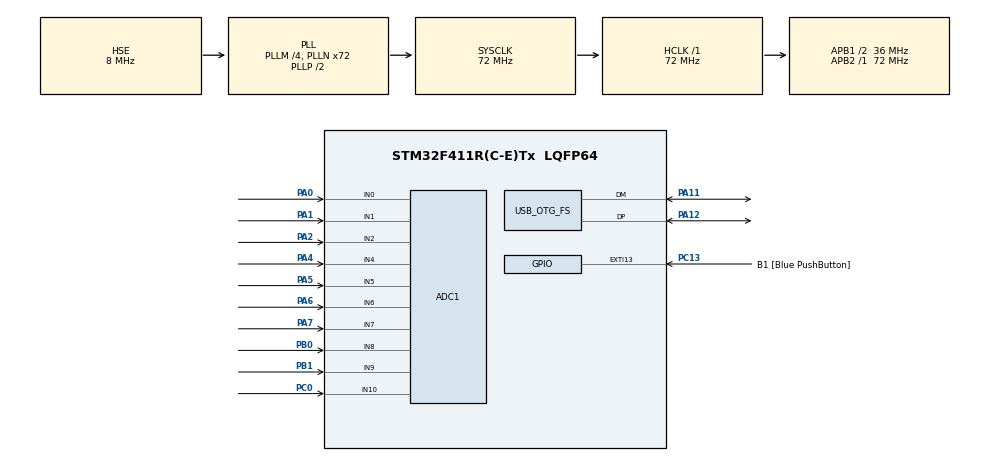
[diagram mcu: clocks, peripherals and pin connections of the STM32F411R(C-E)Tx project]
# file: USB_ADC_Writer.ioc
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ADC1.Channel-0\#ChannelRegularConversion=ADC_CHANNEL_VREFINT
ADC1.Channel-1\#ChannelRegularConversion=ADC_CHANNEL_0
ADC1.Channel-10\#ChannelRegularConversion=ADC_CHANNEL_10
ADC1.Channel-2\#ChannelRegularConversion=ADC_CHANNEL_1
ADC1.Channel-3\#ChannelRegularConversion=ADC_CHANNEL_2
ADC1.Channel-4\#ChannelRegularConversion=ADC_CHANNEL_4
ADC1.Channel-5\#ChannelRegularConversion=ADC_CHANNEL_5
ADC1.Channel-6\#ChannelRegularConversion=ADC_CHANNEL_6
ADC1.Channel-7\#ChannelRegularConversion=ADC_CHANNEL_7
ADC1.Channel-8\#ChannelRegularConversion=ADC_CHANNEL_8
ADC1.Channel-9\#ChannelRegularConversion=ADC_CHANNEL_9
ADC1.DMAContinuousRequests=ENABLE
ADC1.ExternalTrigConv=ADC_EXTERNALTRIGCONV_T2_TRGO
ADC1.NbrOfConversion=11
ADC1.NbrOfConversionFlag=1
ADC1.Rank-0\#ChannelRegularConversion=1
ADC1.Rank-1\#ChannelRegularConversion=2
ADC1.Rank-10\#ChannelRegularConversion=11
ADC1.Rank-2\#ChannelRegularConversion=3
ADC1.Rank-3\#ChannelRegularConversion=4
ADC1.Rank-4\#ChannelRegularConversion=5
ADC1.Rank-5\#ChannelRegularConversion=6
ADC1.Rank-6\#ChannelRegularConversion=7
ADC1.Rank-7\#ChannelRegularConversion=8
ADC1.Rank-8\#ChannelRegularConversion=9
ADC1.Rank-9\#ChannelRegularConversion=10
ADC1.SamplingTime-0\#ChannelRegularConversion=ADC_SAMPLETIME_15CYCLES
ADC1.SamplingTime-1\#ChannelRegularConversion=ADC_SAMPLETIME_15CYCLES
ADC1.SamplingTime-10\#ChannelRegularConversion=ADC_SAMPLETIME_15CYCLES
ADC1.SamplingTime-2\#ChannelRegularConversion=ADC_SAMPLETIME_15CYCLES
ADC1.SamplingTime-3\#ChannelRegularConversion=ADC_SAMPLETIME_15CYCLES
ADC1.SamplingTime-4\#ChannelRegularConversion=ADC_SAMPLETIME_15CYCLES
ADC1.SamplingTime-5\#ChannelRegularConversion=ADC_SAMPLETIME_15CYCLES
ADC1.SamplingTime-6\#ChannelRegularConversion=ADC_SAMPLETIME_15CYCLES
ADC1.SamplingTime-7\#ChannelRegularConversion=ADC_SAMPLETIME_15CYCLES
ADC1.SamplingTime-8\#ChannelRegularConversion=ADC_SAMPLETIME_15CYCLES
ADC1.SamplingTime-9\#ChannelRegularConversion=ADC_SAMPLETIME_15CYCLES
ADC1.ScanConvMode=ENABLE
ADC1.master=1
Dma.ADC1.0.Direction=DMA_PERIPH_TO_MEMORY
Dma.ADC1.0.FIFOMode=DMA_FIFOMODE_DISABLE
Dma.ADC1.0.Instance=DMA2_Stream0
Dma.ADC1.0.MemDataAlignment=DMA_MDATAALIGN_HALFWORD
Dma.ADC1.0.MemInc=DMA_MINC_ENABLE
Dma.ADC1.0.Mode=DMA_CIRCULAR
Dma.ADC1.0.PeriphDataAlignment=DMA_PDATAALIGN_HALFWORD
Dma.ADC1.0.PeriphInc=DMA_PINC_DISABLE
Dma.ADC1.0.Priority=DMA_PRIORITY_HIGH
Dma.Request0=ADC1
FATFS._MAX_SS=4096
Mcu.Family=STM32F4
Mcu.Name=STM32F411R(C-E)Tx
Mcu.Package=LQFP64
NVIC.DMA2_Stream0_IRQn=true\:0\:0\:false\:false\:true\:false
NVIC.OTG_FS_IRQn=true\:0\:0\:false\:false\:true\:false
NVIC.PriorityGroup=NVIC_PRIORITYGROUP_0
PA0-WKUP.Signal=ADCx_IN0
PA1.Signal=ADCx_IN1
PA11.Mode=Host_Only
PA11.Signal=USB_OTG_FS_DM
PA12.Mode=Host_Only
PA12.Signal=USB_OTG_FS_DP
PA13.GPIO_Label=TMS
PA13.Mode=Serial_Wire
PA13.Signal=SYS_JTMS-SWDIO
PA14.GPIO_Label=TCK
PA14.Mode=Serial_Wire
PA14.Signal=SYS_JTCK-SWCLK
PA2.Signal=ADCx_IN2
PA4.Signal=ADCx_IN4
PA5.Signal=ADCx_IN5
PA6.Signal=ADCx_IN6
PA7.Signal=ADCx_IN7
PB0.Signal=ADCx_IN8
PB1.Signal=ADCx_IN9
PC0.Signal=ADCx_IN10
PC13-ANTI_TAMP.GPIO_Label=B1 [Blue PushButton]
PC13-ANTI_TAMP.GPIO_ModeDefaultEXTI=GPIO_MODE_IT_FALLING
PC13-ANTI_TAMP.Signal=GPXTI13
PH0\ -\ OSC_IN.Mode=HSE-External-Oscillator
PH0\ -\ OSC_IN.Signal=RCC_OSC_IN
PH1\ -\ OSC_OUT.Mode=HSE-External-Oscillator
PH1\ -\ OSC_OUT.Signal=RCC_OSC_OUT
ProjectManager.HeapSize=0x200
ProjectManager.StackSize=0x400
ProjectManager.TargetToolchain=MDK-ARM V5
RCC.48MHZClocksFreq_Value=48000000
RCC.AHBFreq_Value=72000000
RCC.APB1CLKDivider=RCC_HCLK_DIV2
RCC.APB1Freq_Value=36000000
RCC.APB1TimFreq_Value=72000000
RCC.APB2Freq_Value=72000000
RCC.APB2TimFreq_Value=72000000
RCC.CortexFreq_Value=72000000
RCC.FLatency-AdvancedSettings=FLASH_LATENCY_2
RCC.HCLKFreq_Value=72000000
RCC.HSE_VALUE=8000000
RCC.HSI_VALUE=16000000
RCC.LSE_VALUE=32768
RCC.PLLM=4
RCC.PLLN=72
RCC.PLLQ=3
RCC.SYSCLKFreq_VALUE=72000000
RCC.SYSCLKSource=RCC_SYSCLKSOURCE_PLLCLK
RCC.VCOOutputFreq_Value=144000000
SH.ADCx_IN0.0=ADC1_IN0,IN0
SH.ADCx_IN1.0=ADC1_IN1,IN1
SH.ADCx_IN10.0=ADC1_IN10,IN10
SH.ADCx_IN2.0=ADC1_IN2,IN2
SH.ADCx_IN4.0=ADC1_IN4,IN4
SH.ADCx_IN5.0=ADC1_IN5,IN5
SH.ADCx_IN6.0=ADC1_IN6,IN6
SH.ADCx_IN7.0=ADC1_IN7,IN7
SH.ADCx_IN8.0=ADC1_IN8,IN8
SH.ADCx_IN9.0=ADC1_IN9,IN9
TIM10.Period=4199
TIM10.Prescaler=19999
TIM2.Period=8400
TIM2.TIM_MasterOutputTrigger=TIM_TRGO_UPDATE
USB_HOST.USBH_HandleTypeDef=hUsbHostFS
USB_HOST.VirtualModeFS=Msc
USB_OTG_FS.VirtualMode=Host_Only
USB_OTG_FS.phy_itface=HCD_PHY_EMBEDDED
VP_ADC1_Vref_Input.Mode=IN-Vrefint
VP_FATFS_VS_USB.Mode=USB
VP_TIM10_VS_ClockSourceINT.Mode=Enable_Timer
VP_TIM2_VS_ClockSourceINT.Mode=Internal
VP_USB_HOST_VS_USB_HOST_MSC_FS.Mode=MSC_FS
board=NUCLEO-F411RE

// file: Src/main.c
/**
  ******************************************************************************
  * @file           : main.c
  * @brief          : Main program body
  ******************************************************************************
  * This notice applies to any and all portions of this file
  * that are not between comment pairs USER CODE BEGIN and
  * USER CODE END. Other portions of this file, whether
  * inserted by the user or by software development tools
  * are owned by their respective copyright owners.
  *
  * Copyright (c) 2018 STMicroelectronics International N.V.
  * All rights reserved.
  *
  * Redistribution and use in source and binary forms, with or without
  * modification, are permitted, provided that the following conditions are met:
  *
  * 1. Redistribution of source code must retain the above copyright notice,
  *    this list of conditions and the following disclaimer.
  * 2. Redistributions in binary form must reproduce the above copyright notice,
  *    this list of conditions and the following disclaimer in the documentation
  *    and/or other materials provided with the distribution.
  * 3. Neither the name of STMicroelectronics nor the names of other
  *    contributors to this software may be used to endorse or promote products
  *    derived from this software without specific written permission.
  * 4. This software, including modifications and/or derivative works of this
  *    software, must execute solely and exclusively on microcontroller or
  *    microprocessor devices manufactured by or for STMicroelectronics.
  * 5. Redistribution and use of this software other than as permitted under
  *    this license is void and will automatically terminate your rights under
  *    this license.
  *
  * THIS SOFTWARE IS PROVIDED BY STMICROELECTRONICS AND CONTRIBUTORS "AS IS"
  * AND ANY EXPRESS, IMPLIED OR STATUTORY WARRANTIES, INCLUDING, BUT NOT
  * LIMITED TO, THE IMPLIED WARRANTIES OF MERCHANTABILITY, FITNESS FOR A
  * PARTICULAR PURPOSE AND NON-INFRINGEMENT OF THIRD PARTY INTELLECTUAL PROPERTY
  * RIGHTS ARE DISCLAIMED TO THE FULLEST EXTENT PERMITTED BY LAW. IN NO EVENT
  * SHALL STMICROELECTRONICS OR CONTRIBUTORS BE LIABLE FOR ANY DIRECT, INDIRECT,
  * INCIDENTAL, SPECIAL, EXEMPLARY, OR CONSEQUENTIAL DAMAGES (INCLUDING, BUT NOT
  * LIMITED TO, PROCUREMENT OF SUBSTITUTE GOODS OR SERVICES; LOSS OF USE, DATA,
  * OR PROFITS; OR BUSINESS INTERRUPTION) HOWEVER CAUSED AND ON ANY THEORY OF
  * LIABILITY, WHETHER IN CONTRACT, STRICT LIABILITY, OR TORT (INCLUDING
  * NEGLIGENCE OR OTHERWISE) ARISING IN ANY WAY OUT OF THE USE OF THIS SOFTWARE,
  * EVEN IF ADVISED OF THE POSSIBILITY OF SUCH DAMAGE.
  *
  ******************************************************************************
  */
#include "main.h"
#include "stm32f4xx_hal.h"
#include "fatfs.h"
#include "usb_host.h"

ADC_HandleTypeDef hadc1;
DMA_HandleTypeDef hdma_adc1;

TIM_HandleTypeDef htim2;
TIM_HandleTypeDef htim10;

/* USER CODE BEGIN PV */
/* Private variables ---------------------------------------------------------*/
extern ApplicationTypeDef Appli_state;
static char _pathToFile[] = "ADC_Data.txt";
/* USER CODE END PV */

void SystemClock_Config(void);
static void MX_GPIO_Init(void);
static void MX_DMA_Init(void);
static void MX_ADC1_Init(void);
static void MX_TIM2_Init(void);
static void MX_TIM10_Init(void);
void MX_USB_HOST_Process(void);

/* USER CODE BEGIN PFP */
/* Private function prototypes -----------------------------------------------*/

/* USER CODE END PFP */

/* USER CODE BEGIN 0 */
uint16_t RESULT[11];
uint16_t RESULTV[11];
uint16_t VADC[10];

FRESULT result;
/* USER CODE END 0 */

int main(void)
{
  /* USER CODE BEGIN 1 */
	uint8_t i=0;
	uint32_t VCC;
	uint32_t UREFNM = 1210*4096;

  /* USER CODE END 1 */

  /* MCU Configuration----------------------------------------------------------*/

  /* Reset of all peripherals, Initializes the Flash interface and the Systick. */
  HAL_Init();

  /* Configure the system clock */
  SystemClock_Config();

  /* Initialize all configured peripherals */
  MX_GPIO_Init();
  MX_DMA_Init();
  MX_USB_HOST_Init();
  MX_FATFS_Init();
  MX_ADC1_Init();
  MX_TIM2_Init();
  MX_TIM10_Init();
  /* USER CODE BEGIN 2 */
	if(f_mount(&USBHFatFS, (const TCHAR*)USBHPath, 0) != FR_OK)
	{
		Error_Handler();
	}

	HAL_ADC_Start_DMA(&hadc1,(uint32_t *)&RESULT,11);
	HAL_TIM_Base_Start(&htim2);
	HAL_TIM_Base_Start_IT(&htim10);
  /* USER CODE END 2 */

  /* Infinite loop */
  while (1)
  {
    MX_USB_HOST_Process();

  /* USER CODE BEGIN 3 */
		if(0 !=	RESULTV[0])
		{
			VCC = UREFNM / RESULTV[0];
			for(i = 0; i < 10; i++)
			{
				VADC[i] = (uint16_t)(RESULTV[i+1]*VCC / 4096);
			}
			RESULTV[0] = 0;
			if(Appli_state == APPLICATION_START)
			{
				if(f_open(&USBHFile, _pathToFile, FA_WRITE | FA_OPEN_APPEND | FA_OPEN_ALWAYS) == FR_OK)
				{
					result = f_printf(&USBHFile, "%05d,%05d,%05d,%05d,%05d,%05d,%05d,%05d,%05d,%05d\r\n",
					VADC[0],VADC[1],VADC[2],VADC[3],VADC[4],VADC[5],VADC[6],VADC[7],VADC[8],VADC[9]);
					if(result == 0)
					{
						Error_Handler();
					}
					f_close(&USBHFile);
				}
				Appli_state = APPLICATION_IDLE;
			}
		}
  }
  /* USER CODE END 3 */

}

void SystemClock_Config(void)
{

  RCC_OscInitTypeDef RCC_OscInitStruct;
  RCC_ClkInitTypeDef RCC_ClkInitStruct;

    /**Configure the main internal regulator output voltage
    */
  __HAL_RCC_PWR_CLK_ENABLE();

  __HAL_PWR_VOLTAGESCALING_CONFIG(PWR_REGULATOR_VOLTAGE_SCALE1);

    /**Initializes the CPU, AHB and APB busses clocks
    */
  RCC_OscInitStruct.OscillatorType = RCC_OSCILLATORTYPE_HSE;
  RCC_OscInitStruct.HSEState = RCC_HSE_ON;
  RCC_OscInitStruct.PLL.PLLState = RCC_PLL_ON;
  RCC_OscInitStruct.PLL.PLLSource = RCC_PLLSOURCE_HSE;
  RCC_OscInitStruct.PLL.PLLM = 4;
  RCC_OscInitStruct.PLL.PLLN = 72;
  RCC_OscInitStruct.PLL.PLLP = RCC_PLLP_DIV2;
  RCC_OscInitStruct.PLL.PLLQ = 3;
  if (HAL_RCC_OscConfig(&RCC_OscInitStruct) != HAL_OK)
  {
    _Error_Handler(__FILE__, __LINE__);
  }

    /**Initializes the CPU, AHB and APB busses clocks
    */
  RCC_ClkInitStruct.ClockType = RCC_CLOCKTYPE_HCLK|RCC_CLOCKTYPE_SYSCLK
                              |RCC_CLOCKTYPE_PCLK1|RCC_CLOCKTYPE_PCLK2;
  RCC_ClkInitStruct.SYSCLKSource = RCC_SYSCLKSOURCE_PLLCLK;
  RCC_ClkInitStruct.AHBCLKDivider = RCC_SYSCLK_DIV1;
  RCC_ClkInitStruct.APB1CLKDivider = RCC_HCLK_DIV2;
  RCC_ClkInitStruct.APB2CLKDivider = RCC_HCLK_DIV1;

  if (HAL_RCC_ClockConfig(&RCC_ClkInitStruct, FLASH_LATENCY_2) != HAL_OK)
  {
    _Error_Handler(__FILE__, __LINE__);
  }

    /**Configure the Systick interrupt time
    */
  HAL_SYSTICK_Config(HAL_RCC_GetHCLKFreq()/1000);

    /**Configure the Systick
    */
  HAL_SYSTICK_CLKSourceConfig(SYSTICK_CLKSOURCE_HCLK);

  /* SysTick_IRQn interrupt configuration */
  HAL_NVIC_SetPriority(SysTick_IRQn, 0, 0);
}

/* ADC1 init function */
static void MX_ADC1_Init(void)
{

  ADC_ChannelConfTypeDef sConfig;

    /**Configure the global features of the ADC (Clock, Resolution, Data Alignment and number of conversion)
    */
  hadc1.Instance = ADC1;
  hadc1.Init.ClockPrescaler = ADC_CLOCK_SYNC_PCLK_DIV2;
  hadc1.Init.Resolution = ADC_RESOLUTION_12B;
  hadc1.Init.ScanConvMode = ENABLE;
  hadc1.Init.ContinuousConvMode = DISABLE;
  hadc1.Init.DiscontinuousConvMode = DISABLE;
  hadc1.Init.ExternalTrigConvEdge = ADC_EXTERNALTRIGCONVEDGE_RISING;
  hadc1.Init.ExternalTrigConv = ADC_EXTERNALTRIGCONV_T2_TRGO;
  hadc1.Init.DataAlign = ADC_DATAALIGN_RIGHT;
  hadc1.Init.NbrOfConversion = 11;
  hadc1.Init.DMAContinuousRequests = ENABLE;
  hadc1.Init.EOCSelection = ADC_EOC_SINGLE_CONV;
  if (HAL_ADC_Init(&hadc1) != HAL_OK)
  {
    _Error_Handler(__FILE__, __LINE__);
  }

    /**Configure for the selected ADC regular channel its corresponding rank in the sequencer and its sample time.
    */
  sConfig.Channel = ADC_CHANNEL_VREFINT;
  sConfig.Rank = 1;
  sConfig.SamplingTime = ADC_SAMPLETIME_15CYCLES;
  if (HAL_ADC_ConfigChannel(&hadc1, &sConfig) != HAL_OK)
  {
    _Error_Handler(__FILE__, __LINE__);
  }

    /**Configure for the selected ADC regular channel its corresponding rank in the sequencer and its sample time.
    */
  sConfig.Channel = ADC_CHANNEL_0;
  sConfig.Rank = 2;
  if (HAL_ADC_ConfigChannel(&hadc1, &sConfig) != HAL_OK)
  {
    _Error_Handler(__FILE__, __LINE__);
  }

    /**Configure for the selected ADC regular channel its corresponding rank in the sequencer and its sample time.
    */
  sConfig.Channel = ADC_CHANNEL_1;
  sConfig.Rank = 3;
  if (HAL_ADC_ConfigChannel(&hadc1, &sConfig) != HAL_OK)
  {
    _Error_Handler(__FILE__, __LINE__);
  }

    /**Configure for the selected ADC regular channel its corresponding rank in the sequencer and its sample time.
    */
  sConfig.Channel = ADC_CHANNEL_2;
  sConfig.Rank = 4;
  if (HAL_ADC_ConfigChannel(&hadc1, &sConfig) != HAL_OK)
  {
    _Error_Handler(__FILE__, __LINE__);
  }

    /**Configure for the selected ADC regular channel its corresponding rank in the sequencer and its sample time.
    */
  sConfig.Channel = ADC_CHANNEL_4;
  sConfig.Rank = 5;
  if (HAL_ADC_ConfigChannel(&hadc1, &sConfig) != HAL_OK)
  {
    _Error_Handler(__FILE__, __LINE__);
  }

    /**Configure for the selected ADC regular channel its corresponding rank in the sequencer and its sample time.
    */
  sConfig.Channel = ADC_CHANNEL_5;
  sConfig.Rank = 6;
  if (HAL_ADC_ConfigChannel(&hadc1, &sConfig) != HAL_OK)
  {
    _Error_Handler(__FILE__, __LINE__);
  }

    /**Configure for the selected ADC regular channel its corresponding rank in the sequencer and its sample time.
    */
  sConfig.Channel = ADC_CHANNEL_6;
  sConfig.Rank = 7;
  if (HAL_ADC_ConfigChannel(&hadc1, &sConfig) != HAL_OK)
  {
    _Error_Handler(__FILE__, __LINE__);
  }

    /**Configure for the selected ADC regular channel its corresponding rank in the sequencer and its sample time.
    */
  sConfig.Channel = ADC_CHANNEL_7;
  sConfig.Rank = 8;
  if (HAL_ADC_ConfigChannel(&hadc1, &sConfig) != HAL_OK)
  {
    _Error_Handler(__FILE__, __LINE__);
  }

    /**Configure for the selected ADC regular channel its corresponding rank in the sequencer and its sample time.
    */
  sConfig.Channel = ADC_CHANNEL_8;
  sConfig.Rank = 9;
  if (HAL_ADC_ConfigChannel(&hadc1, &sConfig) != HAL_OK)
  {
    _Error_Handler(__FILE__, __LINE__);
  }

    /**Configure for the selected ADC regular channel its corresponding rank in the sequencer and its sample time.
    */
  sConfig.Channel = ADC_CHANNEL_9;
  sConfig.Rank = 10;
  if (HAL_ADC_ConfigChannel(&hadc1, &sConfig) != HAL_OK)
  {
    _Error_Handler(__FILE__, __LINE__);
  }

    /**Configure for the selected ADC regular channel its corresponding rank in the sequencer and its sample time.
    */
  sConfig.Channel = ADC_CHANNEL_10;
  sConfig.Rank = 11;
  if (HAL_ADC_ConfigChannel(&hadc1, &sConfig) != HAL_OK)
  {
    _Error_Handler(__FILE__, __LINE__);
  }

}

/* TIM2 init function */
static void MX_TIM2_Init(void)
{

  TIM_ClockConfigTypeDef sClockSourceConfig;
  TIM_MasterConfigTypeDef sMasterConfig;

  htim2.Instance = TIM2;
  htim2.Init.Prescaler = 0;
  htim2.Init.CounterMode = TIM_COUNTERMODE_UP;
  htim2.Init.Period = 8400;
  htim2.Init.ClockDivision = TIM_CLOCKDIVISION_DIV1;
  if (HAL_TIM_Base_Init(&htim2) != HAL_OK)
  {
    _Error_Handler(__FILE__, __LINE__);
  }

  sClockSourceConfig.ClockSource = TIM_CLOCKSOURCE_INTERNAL;
  if (HAL_TIM_ConfigClockSource(&htim2, &sClockSourceConfig) != HAL_OK)
  {
    _Error_Handler(__FILE__, __LINE__);
  }

  sMasterConfig.MasterOutputTrigger = TIM_TRGO_UPDATE;
  sMasterConfig.MasterSlaveMode = TIM_MASTERSLAVEMODE_DISABLE;
  if (HAL_TIMEx_MasterConfigSynchronization(&htim2, &sMasterConfig) != HAL_OK)
  {
    _Error_Handler(__FILE__, __LINE__);
  }

}

/* TIM10 init function */
static void MX_TIM10_Init(void)
{

  htim10.Instance = TIM10;
  htim10.Init.Prescaler = 19999;
  htim10.Init.CounterMode = TIM_COUNTERMODE_UP;
  htim10.Init.Period = 4199;
  htim10.Init.ClockDivision = TIM_CLOCKDIVISION_DIV1;
  if (HAL_TIM_Base_Init(&htim10) != HAL_OK)
  {
    _Error_Handler(__FILE__, __LINE__);
  }

}

static void MX_DMA_Init(void)
{
  /* DMA controller clock enable */
  __HAL_RCC_DMA2_CLK_ENABLE();

  /* DMA interrupt init */
  /* DMA2_Stream0_IRQn interrupt configuration */
  HAL_NVIC_SetPriority(DMA2_Stream0_IRQn, 0, 0);
  HAL_NVIC_EnableIRQ(DMA2_Stream0_IRQn);

}

/** Configure pins as
        * Analog
        * Input
        * Output
        * EVENT_OUT
        * EXTI
*/
static void MX_GPIO_Init(void)
{

  GPIO_InitTypeDef GPIO_InitStruct;

  /* GPIO Ports Clock Enable */
  __HAL_RCC_GPIOC_CLK_ENABLE();
  __HAL_RCC_GPIOH_CLK_ENABLE();
  __HAL_RCC_GPIOA_CLK_ENABLE();
  __HAL_RCC_GPIOB_CLK_ENABLE();

  /*Configure GPIO pin : B1_Pin */
  GPIO_InitStruct.Pin = B1_Pin;
  GPIO_InitStruct.Mode = GPIO_MODE_IT_FALLING;
  GPIO_InitStruct.Pull = GPIO_NOPULL;
  HAL_GPIO_Init(B1_GPIO_Port, &GPIO_InitStruct);

}

void _Error_Handler(char *file, int line)
{
  /* USER CODE BEGIN Error_Handler_Debug */
	f_close(&USBHFile);
  /* User can add his own implementation to report the HAL error return state */
  while(1)
  {
  }
  /* USER CODE END Error_Handler_Debug */
}

/************************ (C) COPYRIGHT STMicroelectronics *****END OF FILE****/
